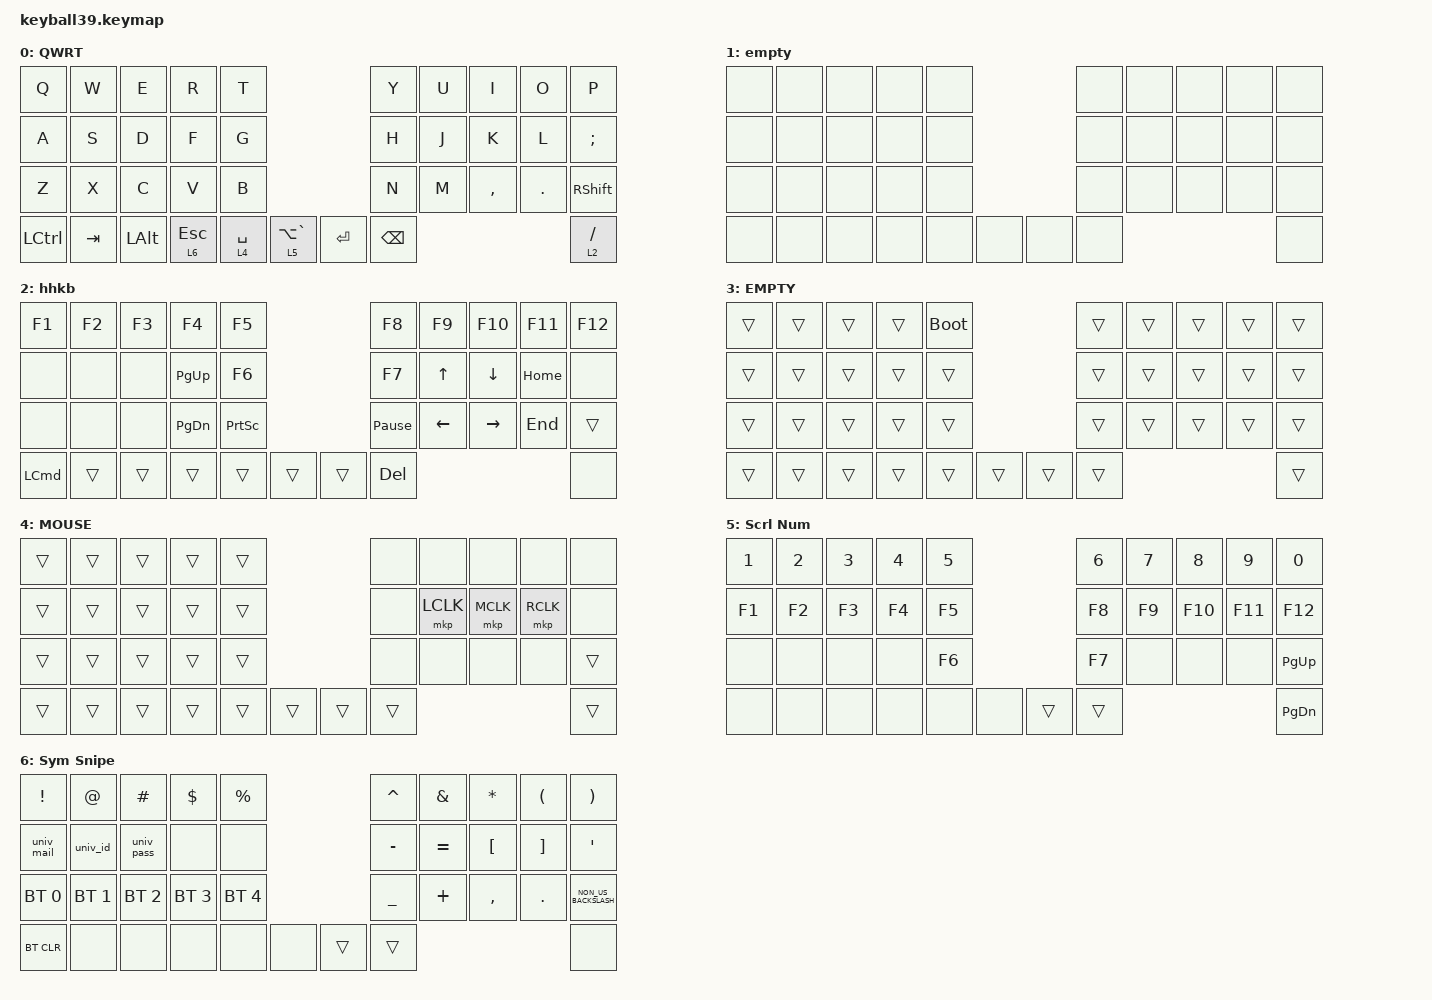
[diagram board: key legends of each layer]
#define DEFAULT 0
#define NUM     1
#define SYM     2
#define FUN     3
#define MOUSE   4
#define SCROLL  5
#define SNIPE   6

#include <behaviors/mouse_keys.dtsi>
#include <dt-bindings/zmk/mouse.h>
#include <behaviors.dtsi>
#include <dt-bindings/zmk/bt.h>
#include <dt-bindings/zmk/keys.h>
#include <dt-bindings/zmk/pointing.h>

&lt {
    tapping-term-ms = <240>;
    flavor = "balanced";
    quick-tap-ms = <150>;
};

&mt {
    tapping-term-ms = <200>;
    flavor = "tap-preferred";
    quick-tap-ms = <150>;
};

&caps_word { continue-list = <UNDERSCORE MINUS>; };

/ {
    // custom shift using mod-morph 

    behaviors {
        cmqus: comma_question {
            compatible = "zmk,behavior-mod-morph";
            label = "COMMA_QUESTION";
            #binding-cells = <0>;
            bindings = <&kp COMMA>, <&kp QUESTION>;

            mods = <(MOD_LSFT|MOD_RSFT)>;
        };

        dtsmi: dot_semi {
            compatible = "zmk,behavior-mod-morph";
            label = "DOT_SEMI";
            #binding-cells = <0>;
            bindings = <&kp DOT>, <&kp SEMI>;

            mods = <(MOD_LSFT|MOD_RSFT)>;
        };
    };

    macros {
        Hiragana: Hiragana {
            compatible = "zmk,behavior-macro";
            #binding-cells = <0>;
            bindings = <&kp LC(SPACE)>;
            label = "HIRAGANA";
        };

        univ_pass: univ_pass {
            compatible = "zmk,behavior-macro";
            #binding-cells = <0>;
            bindings = <&none &kp LS(Z) &kp AMPS &kp I &kp AT &kp N4 &kp LS(T) &kp N &kp N5 &kp TILDE>;
            label = "UNIV_PASS";
        };

        univ_id: univ_id {
            compatible = "zmk,behavior-macro";
            #binding-cells = <0>;
            bindings = <&none &kp LS(M) &kp N0 &kp LS(A) &kp N2 &kp N5 &kp N1 &kp N1 &kp N6>;
            label = "UNIV_ID";
        };

        univ_mail: univ_mail {
            compatible = "zmk,behavior-macro";
            #binding-cells = <0>;
            bindings = <&none &kp M &kp N0 &kp A &kp N2 &kp N5 &kp N1 &kp N1 &kp N6 &kp N3 &kp N0 &kp AT &kp E &kp D &kp U &kp DOT &kp T &kp E &kp U &kp DOT &kp A &kp C &kp DOT &kp J &kp P>;
            label = "UNIV_MAIL";
        };
    };

    keymap {
        compatible = "zmk,keymap";

        default_layer {
            label = "QWRT";
            bindings = <
&kp Q      &kp W    &kp E     &kp R         &kp T                                    &kp Y          &kp U  &kp I      &kp O    &kp P
&kp A      &kp S    &kp D     &kp F         &kp G                                    &kp H          &kp J  &kp K      &kp L    &kp SEMI
&kp Z      &kp X    &kp C     &kp V         &kp B                                    &kp N          &kp M  &kp COMMA  &kp DOT  &kp RSHFT
&kp LCTRL  &kp TAB  &kp LALT  &lt 6 ESCAPE  &lt 4 SPACE  &lt 5 LA(GRAVE)  &kp ENTER  &kp BACKSPACE                             &lt 2 SLASH
            >;
        };

        empty {
            label = "empty";
            bindings = <
&none  &none  &none  &none  &none                &none  &none  &none  &none  &none
&none  &none  &none  &none  &none                &none  &none  &none  &none  &none
&none  &none  &none  &none  &none                &none  &none  &none  &none  &none
&none  &none  &none  &none  &none  &none  &none  &none                       &none
            >;
        };

        hhkb {
            bindings = <
&kp F1            &kp F2  &kp F3  &kp F4         &kp F5                           &kp F8           &kp F9        &kp F10         &kp F11   &kp F12
&none             &none   &none   &kp PAGE_UP    &kp F6                           &kp F7           &kp UP_ARROW  &kp DOWN_ARROW  &kp HOME  &none
&none             &none   &none   &kp PAGE_DOWN  &kp PRINTSCREEN                  &kp PAUSE_BREAK  &kp LEFT      &kp RIGHT       &kp END   &trans
&kp LEFT_COMMAND  &trans  &trans  &trans         &trans           &trans  &trans  &kp DEL                                                  &none
            >;
        };

        empty_2 {
            label = "EMPTY";
            bindings = <
&trans  &trans  &trans  &trans  &bootloader                  &trans  &trans  &trans  &trans  &trans
&trans  &trans  &trans  &trans  &trans                       &trans  &trans  &trans  &trans  &trans
&trans  &trans  &trans  &trans  &trans                       &trans  &trans  &trans  &trans  &trans
&trans  &trans  &trans  &trans  &trans       &trans  &trans  &trans                          &trans
            >;
        };

        mouse_layer {
            label = "MOUSE";
            bindings = <
&trans  &trans  &trans  &trans  &trans                  &none   &none      &none      &none      &none
&trans  &trans  &trans  &trans  &trans                  &none   &mkp LCLK  &mkp MCLK  &mkp RCLK  &none
&trans  &trans  &trans  &trans  &trans                  &none   &none      &none      &none      &trans
&trans  &trans  &trans  &trans  &trans  &trans  &trans  &trans                                   &trans
            >;
        };

        scroll_number {
            label = "Scrl Num";
            bindings = <
&kp NUMBER_1  &kp NUMBER_2  &kp NUMBER_3  &kp NUMBER_4  &kp NUMBER_5                 &kp NUMBER_6  &kp NUMBER_7  &kp NUMBER_8  &kp NUMBER_9  &kp NUMBER_0
&kp F1        &kp F2        &kp F3        &kp F4        &kp F5                       &kp F8        &kp F9        &kp F10       &kp F11       &kp F12
&none         &none         &none         &none         &kp F6                       &kp F7        &none         &none         &none         &kp PAGE_UP
&none         &none         &none         &none         &none         &none  &trans  &trans                                                  &kp PAGE_DOWN
            >;
        };

        symbol_snipe {
            label = "Sym Snipe";
            bindings = <
&kp EXCLAMATION  &kp AT_SIGN   &kp HASH      &kp DOLLAR    &kp PERCENT                  &kp CARET       &kp AMPERSAND  &kp ASTERISK      &kp LEFT_PARENTHESIS  &kp RIGHT_PARENTHESIS
&univ_mail       &univ_id      &univ_pass    &none         &none                        &kp MINUS       &kp EQUAL      &kp LEFT_BRACKET  &kp RIGHT_BRACKET     &kp SQT
&bt BT_SEL 0     &bt BT_SEL 1  &bt BT_SEL 2  &bt BT_SEL 3  &bt BT_SEL 4                 &kp UNDERSCORE  &kp PLUS       &kp COMMA         &kp PERIOD            &kp NON_US_BACKSLASH
&bt BT_CLR       &none         &none         &none         &none         &none  &trans  &trans                                                                 &none
            >;
        };
    };
};
